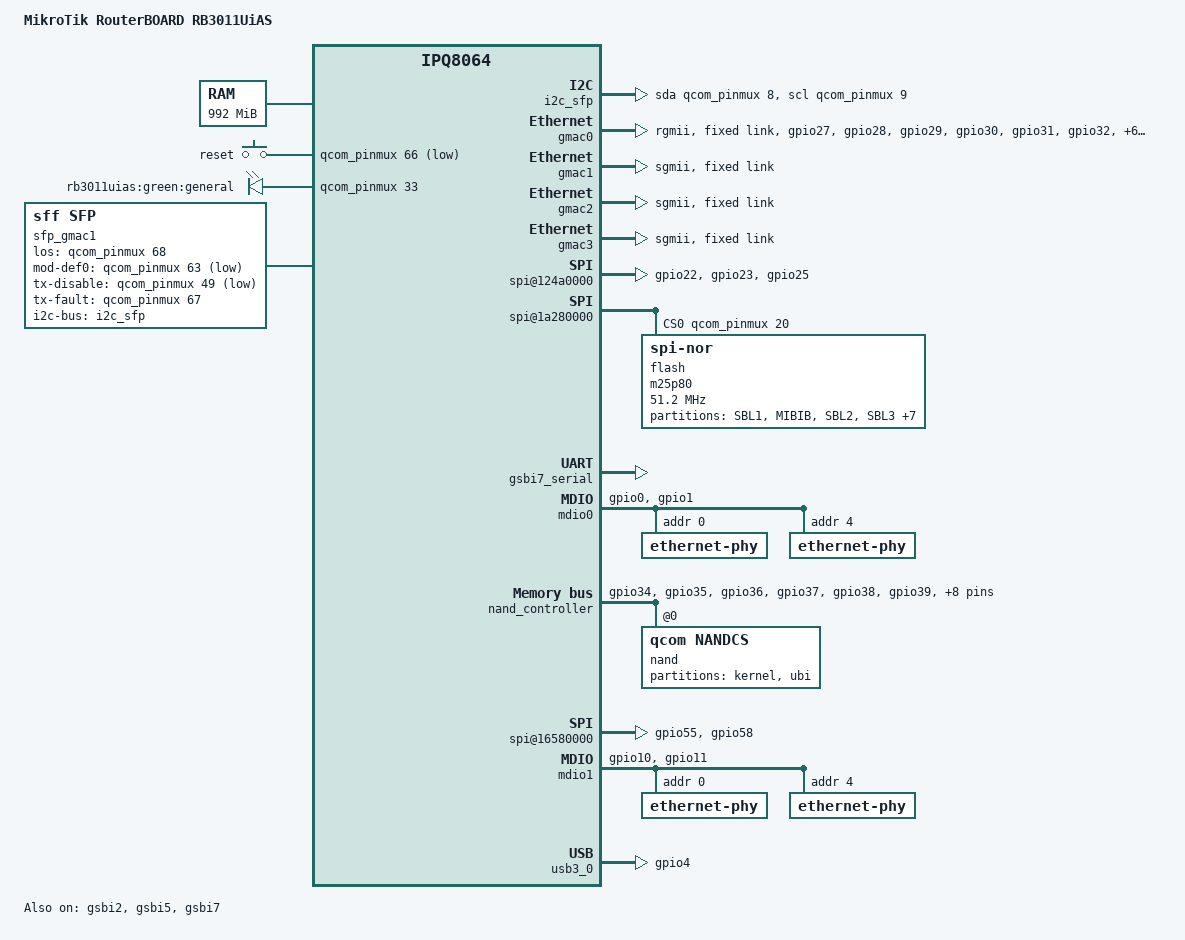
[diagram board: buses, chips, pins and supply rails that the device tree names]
#include "qcom-ipq8064-v2.0.dtsi"

#include <dt-bindings/input/input.h>

/ {
	model = "MikroTik RouterBOARD RB3011UiAS";
	compatible = "mikrotik,rb3011uias", "qcom,ipq8064";

	memory@0 {
		reg = <0x42000000 0x3e000000>;
		device_type = "memory";
	};

	reserved-memory {
		#address-cells = <1>;
		#size-cells = <1>;
		ranges;

		rsvd@41200000 {
			reg = <0x41200000 0x300000>;
			no-map;
		};

		rsvd@7f000000 { /* 16 Mb for ramoops */
			reg = <0x7f000000 0x1000000>;
			reusable;
		};
	};

	aliases {
		led-upgrade = &general;
		mdio-gpio0 = &mdio0;
		mdio-gpio1 = &mdio1;
		serial0 = &gsbi7_serial;
	};

	chosen {
		stdout-path = "serial0:115200n8";
	};

	i2c_sfp: i2c {
		compatible = "i2c-gpio";
		sda-gpios = <&qcom_pinmux 8 (GPIO_ACTIVE_HIGH|GPIO_OPEN_DRAIN)>;
		scl-gpios = <&qcom_pinmux 9 (GPIO_ACTIVE_HIGH|GPIO_OPEN_DRAIN)>;
		i2c-gpio,delay-us = <5>;
		i2c-gpio,timeout-ms = <1>;
	};

	keys {
		compatible = "gpio-keys";

		reset {
			gpios = <&qcom_pinmux 66 GPIO_ACTIVE_LOW>;
			label = "reset";
			linux,code = <KEY_RESTART>;
			pinctrl-0 = <&reset_button_pins>;
			pinctrl-names = "default";
		};
	};

	leds {
		compatible = "gpio-leds";

		general: general {
			gpios = <&qcom_pinmux 33 GPIO_ACTIVE_HIGH>;
			label = "rb3011uias:green:general";
			pinctrl-0 = <&led_general_pins>;
			pinctrl-names = "default";
		};
	};

	sfp_gmac1: sfp {
		compatible = "sff,sfp";
		i2c-bus = <&i2c_sfp>;
		los-gpios = <&qcom_pinmux 68 GPIO_ACTIVE_HIGH>;
		maximum-power-milliwatt = <2000>;
		mod-def0-gpios = <&qcom_pinmux 63 GPIO_ACTIVE_LOW>;
		pinctrl-0 = <&sfp_pins>;
		pinctrl-names = "default";
//		rate-select0-gpios = <&qcom_pinmux 50 GPIO_ACTIVE_HIGH>;
//		rate-select0-gpios = <&qcom_pinmux 50 GPIO_ACTIVE_LOW>;
//		tx-disable-gpios = <&qcom_pinmux 49 GPIO_ACTIVE_HIGH>;
		tx-disable-gpios = <&qcom_pinmux 49 GPIO_ACTIVE_LOW>;
		tx-fault-gpios = <&qcom_pinmux 67 GPIO_ACTIVE_HIGH>;
	};
};

&adm_dma {
	status = "okay";
};

&gmac0 {
	mdiobus = <&mdio0>;
	mtd-mac-address = <&hard_config 0x10>;
	mtd-mac-address-increment = <0>;
	phy-mode = "rgmii";
	pinctrl-0 = <&rgmii2_pins>;
	pinctrl-names = "default";
	qcom,id = <0>;
	status = "okay";

	fixed-link {
		speed = <1000>;
		full-duplex;
	};
};

&gmac1 {
	mtd-mac-address = <&hard_config 0x10>;
	mtd-mac-address-increment = <1>;
	phy-mode = "sgmii";
	qcom,id = <1>;
//	sfp = <&sfp_gmac1>;
	status = "okay";

	fixed-link {
		speed = <1000>;
		full-duplex;
	};
};

&gmac2 {
	mdiobus = <&mdio0>;
	mtd-mac-address = <&hard_config 0x10>;
	mtd-mac-address-increment = <2>;
	phy-mode = "sgmii";
	qcom,id = <2>;
	status = "okay";

	fixed-link {
		speed = <1000>;
		full-duplex;
	};
};

&gmac3 {
	mdiobus = <&mdio1>;
	mtd-mac-address = <&hard_config 0x10>;
	mtd-mac-address-increment = <3>;
	phy-mode = "sgmii";
	qcom,id = <3>;
	status = "okay";

	fixed-link {
		speed = <1000>;
		full-duplex;
	};
};

&gsbi2 {
	qcom,mode = <GSBI_PROT_SPI>;
	status = "okay";

	spi@124a0000 {
		compatible = "qcom,spi-qup-v1.1.1";
		reg = <0x124a0000 0x1000>;
		interrupts = <GIC_SPI 196 IRQ_TYPE_LEVEL_HIGH>;

		clocks = <&gcc GSBI2_QUP_CLK>, <&gcc GSBI2_H_CLK>;
		clock-names = "core", "iface";

		#address-cells = <1>;
		#size-cells = <0>;

		pinctrl-0 = <&spi2_pins>;
		pinctrl-names = "default";

		cs-gpios = <&qcom_pinmux 24 GPIO_ACTIVE_HIGH>;

		spi-max-frequency = <2000000>;
	};
};

&gsbi4 {
	qcom,mode = <GSBI_PROT_I2C_UART>;
	status = "disabled";

	serial@16340000 {
		status = "disabled";
	};

	/*
	 * The i2c device on gsbi4 should not be enabled.
	 * On ipq806x designs gsbi4 i2c is meant for exclusive
	 * RPM usage. Turning this on in kernel manifests as
	 * i2c failure for the RPM.
	 */
};

&gsbi5 {
	qcom,mode = <GSBI_PROT_SPI>;
	status = "okay";

	spi@1a280000 {
		status = "okay";

		pinctrl-0 = <&spi_pins>;
		pinctrl-names = "default";

		cs-gpios = <&qcom_pinmux 20 GPIO_ACTIVE_HIGH>;

		flash: m25p80@0 {
			compatible = "jedec,spi-nor";
			#address-cells = <1>;
			#size-cells = <1>;
			spi-max-frequency = <51200000>;
			reg = <0>;

			partitions {
				compatible = "fixed-partitions";
				#address-cells = <1>;
				#size-cells = <1>;

				SBL1@0 {
					label = "SBL1";
					reg = <0x00000000 0x20000>;
					read-only;
				};
				MIBIB@20000 {
					label = "MIBIB";
					reg = <0x00020000 0x20000>;
					read-only;
				};
				SBL2@40000 {
					label = "SBL2";
					reg = <0x00040000 0x40000>;
					read-only;
				};
				SBL3@80000 {
					label = "SBL3";
					reg = <0x00080000 0x80000>;
					read-only;
				};
				DDRCONFIG@100000 {
					label = "DDRCONFIG";
					reg = <0x00100000 0x10000>;
					read-only;
				};
				SSD@110000 {
					label = "SSD";
					reg = <0x00110000 0x10000>;
					read-only;
				};
				TZ@120000 {
					label = "TZ";
					reg = <0x00120000 0x80000>;
					read-only;
				};
				RPM@1a0000 {
					label = "RPM";
					reg = <0x001a0000 0x20000>;
					read-only;
				};
				APPSBL@1c0000 {
					label = "APPSBL";
					reg = <0x001c0000 0x40000>;
					read-only;
				};
				hard_config: RBHARDCONFIG@1cf000 {
					label = "hard_config";
					reg = <0x001cf000 0x01000>;
					read-only;
				};
				RBSOFTCONFIG@1e0000 {
					label = "soft_config";
					reg = <0x001e0000 0x01000>;
				};
			};
		};
	};
};

&gsbi7 {
	qcom,mode = <GSBI_PROT_I2C_UART>;
	status = "okay";
};

&gsbi7_serial {
	status = "okay";
};

&mdio0 {
	status = "okay";

	pinctrl-0 = <&mdio0_pins>;
	pinctrl-names = "default";

	ethernet-phy@0 {
		reg = <0>;
		qca,ar8327-initvals = <
			0x00004 0x07600000  /* PAD0_MODE */
			0x00008 0x01000000  /* PAD5_MODE */
			0x0000c 0x00000080  /* PAD6_MODE */
			0x000e4 0x000aa545  /* MAC_POWER_SEL */
			0x000e0 0xc74164de  /* SGMII_CTRL */
			0x0007c 0x4e        /* PORT0_STATUS */
			0x00094 0x4e        /* PORT6_STATUS */
			0x00970 0x1e864443  /* QM_PORT0_CTRL0 */
			0x00974 0x000001c6  /* QM_PORT0_CTRL1 */
			0x00978 0x19008643  /* QM_PORT1_CTRL0 */
			0x0097c 0x000001c6  /* QM_PORT1_CTRL1 */
			0x00980 0x19008643  /* QM_PORT2_CTRL0 */
			0x00984 0x000001c6  /* QM_PORT2_CTRL1 */
			0x00988 0x19008643  /* QM_PORT3_CTRL0 */
			0x0098c 0x000001c6  /* QM_PORT3_CTRL1 */
			0x00990 0x19008643  /* QM_PORT4_CTRL0 */
			0x00994 0x000001c6  /* QM_PORT4_CTRL1 */
			0x00998 0x1e864443  /* QM_PORT5_CTRL0 */
			0x0099c 0x000001c6  /* QM_PORT5_CTRL1 */
			0x009a0 0x1e864443  /* QM_PORT6_CTRL0 */
			0x009a4 0x000001c6  /* QM_PORT6_CTRL1 */
		>;
		qca,ar8327-vlans = <
			0x1	0x7f	    /* VLAN1 Ports 0/1/2/3/4/5/6 */
		>;
	};

	ethernet-phy@4 {
		reg = <4>;
		qca,ar8327-initvals = <
			0x000e4 0x6a545     /* MAC_POWER_SEL */
			0x0000c 0x80        /* PAD6_MODE */
		>;
	};
};

&nand_controller {
	status = "okay";

	pinctrl-0 = <&nand_pins>;
	pinctrl-names = "default";

	nand@0 {
		reg = <0>;
		compatible = "qcom,nandcs";

		nand-ecc-strength = <4>;
		nand-bus-width = <8>;
		nand-ecc-step-size = <512>;

		partitions {
			compatible = "fixed-partitions";
			#address-cells = <1>;
			#size-cells = <1>;

			partition@0 {
				label = "kernel";
				reg = <0x00000000 0x1000000>;
			};

			partition@1000000 {
				label = "ubi";
				reg = <0x1000000 0x7000000>;
			};
		};
	};
};

&qcom_pinmux {
	pinctrl-0 = <&switch0_reset_pin &switch1_reset_pin>;
	pinctrl-names = "default";

	i2c1_pins: i2c1-pinmux {
		pins = "gpio53", "gpio54";
		function = "gsbi1";
		bias-disable;
	};

	led_general_pins: led-general-pins {
		mux {
			pins = "gpio33";
			function = "gpio";
			drive-strength = <2>;
			bias-pull-down;
		};
	};

	mdio0_pins: mdio0-pins {
		mux {
			pins = "gpio0", "gpio1";
			function = "mdio";
			drive-strength = <8>;
			bias-disable;
		};

		clk {
			pins = "gpio1";
			input-disable;
		};
	};

	mdio1_pins: mdio1-pins {
		mux {
			pins = "gpio10", "gpio11";
			function = "mdio";
			drive-strength = <8>;
			bias-disable;
		};

		clk {
			pins = "gpio11";
			input-disable;
		};
	};

	nand_pins: nand-pins {
		mux {
			pins = "gpio34", "gpio35", "gpio36",
			       "gpio37", "gpio38", "gpio39",
			       "gpio40", "gpio41", "gpio42",
			       "gpio43", "gpio44", "gpio45",
			       "gpio46", "gpio47";
			function = "nand";
			drive-strength = <10>;
			bias-disable;
		};
		pullups {
			pins = "gpio39";
			bias-pull-up;
		};
		hold {
			pins = "gpio40", "gpio41", "gpio42",
			       "gpio43", "gpio44", "gpio45",
			       "gpio46", "gpio47";
			bias-bus-hold;
		};
	};

	reset_button_pins: reset-button-pins {
		mux {
			pins = "gpio66";
			function = "gpio";
			drive-strength = <2>;
			bias-pull-up;
		};
	};

	rgmii2_pins: rgmii2-pins {
		mux {
			pins = "gpio27", "gpio28", "gpio29", "gpio30", "gpio31",
			       "gpio32", "gpio51", "gpio52", "gpio59", "gpio60",
			       "gpio61", "gpio62";
			function = "rgmii2";
			drive-strength = <8>;
			bias-disable;
		};

		tx {
			pins = "gpio27", "gpio28", "gpio29", "gpio30", "gpio31", "gpio32" ;
			input-disable;
		};
	};

	sfp_pins: sfp-pins {
		mux {
			pins = "gpio49", "gpio50", "gpio63", "gpio67", "gpio68";
			function = "gpio";
			drive-strength = <16>;
			bias-disable;
		};
	};

	spi2_pins: spi2-pins {
		mux {
			pins = "gpio22", "gpio23", "gpio25";
			function = "gsbi2";
			drive-strength = <10>;
			bias-none;
		};
	};

	spi6_pins: spi6-pins {
		mux {
			pins = "gpio55", "gpio58";
			function = "gsbi6";
			drive-strength = <10>;
			bias-none;
		};
	};

	switch0_reset_pin: switch0-reset-pin {
		mux {
			pins = "gpio16";
			function = "gpio";
			drive-strength = <16>;
			bias-pull-down;
			output-high;
		};
	};

	switch1_reset_pin: switch1-reset-pin {
		mux {
			pins = "gpio17";
			function = "gpio";
			drive-strength = <16>;
			bias-pull-down;
			output-high;
		};
	};

	usb0_pwr_en_pins: usb0-pwr-en-pins {
		mux {
			pins = "gpio4";
			function = "gpio";
			drive-strength = <16>;
			bias-disable;
			output-high;
		};
	};
};

&soc {
	gsbi1: gsbi@12440000 {
		compatible = "qcom,gsbi-v1.0.0";
		cell-index = <1>;
		reg = <0x12440000 0x100>;
		clocks = <&gcc GSBI1_H_CLK>;
		clock-names = "iface";
		#address-cells = <1>;
		#size-cells = <1>;
		ranges;
		status = "disabled";

		syscon-tcsr = <&tcsr>;

		uart1: serial@12450000 {
			compatible = "qcom,msm-uartdm-v1.3", "qcom,msm-uartdm";
			reg = <0x12450000 0x1000>,
				  <0x12440000 0x1000>;
			interrupts = <GIC_SPI 195 IRQ_TYPE_LEVEL_HIGH>;
			clocks = <&gcc GSBI1_UART_CLK>, <&gcc GSBI1_H_CLK>;
			clock-names = "core", "iface";
			status = "disabled";
		};

		i2c@12460000 {
			compatible = "qcom,i2c-qup-v1.1.1";
			reg = <0x12460000 0x1000>;
			interrupts = <GIC_SPI 196 IRQ_TYPE_LEVEL_HIGH>;
			clocks = <&gcc GSBI1_QUP_CLK>, <&gcc GSBI1_H_CLK>;
			clock-names = "core", "iface";
			status = "disabled";

			#address-cells = <1>;
			#size-cells = <0>;
		};
	};

	gsbi3: gsbi@16200000 {
		compatible = "qcom,gsbi-v1.0.0";
		cell-index = <3>;
		reg = <0x16200000 0x100>;
		clocks = <&gcc GSBI3_H_CLK>;
		clock-names = "iface";
		#address-cells = <1>;
		#size-cells = <1>;
		ranges;
		status = "disabled";

		syscon-tcsr = <&tcsr>;

		uart3: serial@16240000 {
			compatible = "qcom,msm-uartdm-v1.3", "qcom,msm-uartdm";
			reg = <0x16240000 0x1000>,
				  <0x16200000 0x1000>;
			interrupts = <GIC_SPI 150 IRQ_TYPE_LEVEL_HIGH>;
			clocks = <&gcc GSBI3_UART_CLK>, <&gcc GSBI3_H_CLK>;
			clock-names = "core", "iface";
			status = "disabled";
		};

		i2c@16280000 {
			compatible = "qcom,i2c-qup-v1.1.1";
			reg = <0x16280000 0x1000>;
			interrupts = <GIC_SPI 151 IRQ_TYPE_LEVEL_HIGH>;
			clocks = <&gcc GSBI3_QUP_CLK>, <&gcc GSBI3_H_CLK>;
			clock-names = "core", "iface";
			status = "disabled";

			#address-cells = <1>;
			#size-cells = <0>;
		};
	};

	gsbi6: gsbi@16500000 {
		qcom,mode = <GSBI_PROT_SPI>;
		compatible = "qcom,gsbi-v1.0.0";
		cell-index = <6>;
		reg = <0x16500000 0x100>;
		clocks = <&gcc GSBI6_H_CLK>;
		clock-names = "iface";
		#address-cells = <1>;
		#size-cells = <1>;
		ranges;

		syscon-tcsr = <&tcsr>;

		uart6: serial@16540000 {
			compatible = "qcom,msm-uartdm-v1.3", "qcom,msm-uartdm";
			reg = <0x16540000 0x1000>,
				  <0x16500000 0x1000>;
			interrupts = <GIC_SPI 156 IRQ_TYPE_LEVEL_HIGH>;
			clocks = <&gcc GSBI6_UART_CLK>, <&gcc GSBI6_H_CLK>;
			clock-names = "core", "iface";
			status = "disabled";
		};

		i2c@16580000 {
			compatible = "qcom,i2c-qup-v1.1.1";
			reg = <0x16580000 0x1000>;
			interrupts = <GIC_SPI 157 IRQ_TYPE_LEVEL_HIGH>;
			clocks = <&gcc GSBI6_QUP_CLK>, <&gcc GSBI6_H_CLK>;
			clock-names = "core", "iface";
			status = "disabled";

			#address-cells = <1>;
			#size-cells = <0>;
		};

		spi@16580000 {
			compatible = "qcom,spi-qup-v1.1.1";
			reg = <0x16580000 0x1000>;
			interrupts = <GIC_SPI 157 IRQ_TYPE_LEVEL_HIGH>;
			clocks = <&gcc GSBI6_QUP_CLK>, <&gcc GSBI6_H_CLK>;
			clock-names = "core", "iface";

			#address-cells = <1>;
			#size-cells = <0>;

			pinctrl-0 = <&spi6_pins>;
			pinctrl-names = "default";

			cs-gpios = <&qcom_pinmux 57 GPIO_ACTIVE_HIGH>;

			spi-max-frequency = <15000000>;
		};
	};

	mdio1: mdio@37200000 {
		#address-cells = <1>;
		#size-cells = <0>;

		compatible = "qcom,ipq8064-mdio", "syscon";
		reg = <0x37200000 0x200000>;
		resets = <&gcc GMAC_CORE2_RESET>;
		reset-names = "stmmaceth";
		clocks = <&gcc GMAC_CORE2_CLK>;
		clock-names = "stmmaceth";

		pinctrl-0 = <&mdio1_pins>;
		pinctrl-names = "default";

		ethernet-phy@0 {
			reg = <0>;
			qca,ar8327-initvals = <
				0x00004 0x0000080   /* PAD0_MODE */
				0x00008 0x1000000   /* PAD5_MODE */
				0x0000c 0x80        /* PAD6_MODE */
				0x00010 0x2613A0    /* SERDES DISABLE */
				0x000e4 0xaa545     /* MAC_POWER_SEL */
				0x000e0 0xc74164de  /* SGMII_CTRL */
				0x0007c 0x4e        /* PORT0_STATUS */
				0x00094 0x4e        /* PORT6_STATUS */
				0x00970 0x1e864443  /* QM_PORT0_CTRL0 */
				0x00974 0x000001c6  /* QM_PORT0_CTRL1 */
				0x00978 0x19008643  /* QM_PORT1_CTRL0 */
				0x0097c 0x000001c6  /* QM_PORT1_CTRL1 */
				0x00980 0x19008643  /* QM_PORT2_CTRL0 */
				0x00984 0x000001c6  /* QM_PORT2_CTRL1 */
				0x00988 0x19008643  /* QM_PORT3_CTRL0 */
				0x0098c 0x000001c6  /* QM_PORT3_CTRL1 */
				0x00990 0x19008643  /* QM_PORT4_CTRL0 */
				0x00994 0x000001c6  /* QM_PORT4_CTRL1 */
				0x00998 0x1e864443  /* QM_PORT5_CTRL0 */
				0x0099c 0x000001c6  /* QM_PORT5_CTRL1 */
				0x009a0 0x1e864443  /* QM_PORT6_CTRL0 */
				0x009a4 0x000001c6  /* QM_PORT6_CTRL1 */
			>;
			qca,ar8327-vlans = <
				0x1	0x7e	    /* VLAN1 Ports 1/2/3/4/5/6 */
			>;
		};

		ethernet-phy@4 {
			reg = <4>;
			qca,ar8327-initvals = <
				0x000e4 0x6a545     /* MAC_POWER_SEL */
				0x0000c 0x80        /* PAD6_MODE */
			>;
		};
	};
};

&usb3_0 { /* USB3 port 0 HS phy */
//			clocks = <&gcc USB30_1_UTMI_CLK>;
	pinctrl-0 = <&usb0_pwr_en_pins>;
	pinctrl-names = "default";
//	status = "okay";
};
